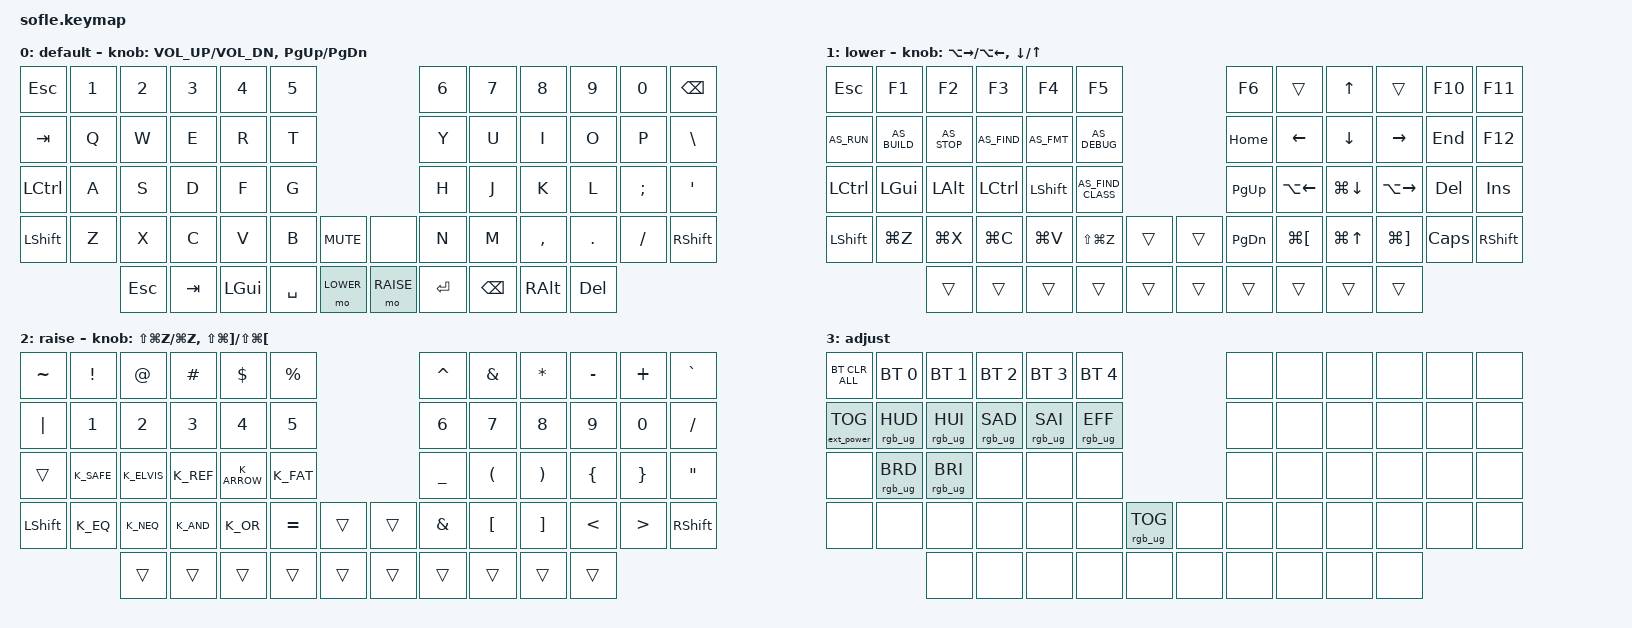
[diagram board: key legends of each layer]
/*
 * Copyright (c) 2020 The ZMK Contributors
 *
 * SPDX-License-Identifier: MIT
 *
 * =====================================================================
 * Sofle v2 Wireless - Keymap otimizado pra Android nativo + KMP no macOS
 * =====================================================================
 *
 * Design pensado pra Kotlin: multi-char tokens (->, ?:, ?., ::, ==) viram
 * teclas únicas; pares de delimitadores em colunas adjacentes pra rolagem
 * natural do dedo; macros do Android Studio na navigation layer.
 *
 * --- LAYERS ---
 *
 * Layer 0 (BASE)    QWERTY puro. Polegares: Esc Tab Cmd Space Lower
 *                                            Raise Enter Bksp Alt Del
 * Layer 1 (LOWER)   Navegação + edição + F-keys + macros Android Studio
 * Layer 2 (RAISE)   Símbolos + números otimizados pra Kotlin
 * Layer 3 (ADJUST)  BT, RGB, ext_power (acessada via Lower+Raise)
 *
 * --- TECLAS-CHAVE NA SYMBOL LAYER (RAISE) ---
 *
 * Mão esquerda home row (multi-char Kotlin tokens):
 *     A=?.   S=?:   D=::   F=->   G==>
 *
 * Mão direita home row (delimitadores em pares):
 *     H=_   J=(   K=)   L={   ;=}   '="
 *
 * --- ENCODERS POR LAYER ---
 *
 * Default: Volume UP/DN     | Page UP/DN
 * Lower:   Word →/←         | Line ↓/↑       (navegação fina)
 * Raise:   Redo/Undo        | Next/Prev tab   (refactor + nav editor)
 *
 * --- MACROS DEFINIDAS ---
 *
 * Android Studio (na layer LOWER, F-row):
 *   AS_RUN  AS_BUILD  AS_STOP  AS_FIND  AS_FMT  AS_DEBUG
 *
 * Kotlin tokens (na layer RAISE, mão esquerda):
 *   K_SAFE (?.)  K_ELVIS (?:)  K_REF (::)  K_ARROW (->)  K_FAT (=>)
 *
 * Combinar com sofle.conf ajustado pra estabilidade BT com AVD rodando.
 * =====================================================================
 */

#include <behaviors.dtsi>
#include <dt-bindings/zmk/bt.h>
#include <dt-bindings/zmk/ext_power.h>
#include <dt-bindings/zmk/keys.h>
#include <dt-bindings/zmk/rgb.h>

#define BASE   0
#define LOWER  1
#define RAISE  2
#define ADJUST 3

/ {
    // ADJUST layer ativa quando LOWER + RAISE são pressionados juntos
    conditional_layers {
        compatible = "zmk,conditional-layers";

        adjust_layer {
            if-layers = <LOWER RAISE>;
            then-layer = <ADJUST>;
        };
    };

    // ============================================================
    // MACROS
    // ============================================================
    macros {

        // --- Kotlin multi-char tokens ---

        K_SAFE: kotlin_safe_call {
            // ?. (safe call operator)
            compatible = "zmk,behavior-macro";
            #binding-cells = <0>;
            wait-ms = <5>;
            tap-ms = <5>;
            bindings = <&kp QMARK &kp DOT>;
        };

        K_ELVIS: kotlin_elvis {
            // ?: (elvis operator)
            compatible = "zmk,behavior-macro";
            #binding-cells = <0>;
            wait-ms = <5>;
            tap-ms = <5>;
            bindings = <&kp QMARK &kp COLON>;
        };

        K_REF: kotlin_member_ref {
            // :: (member reference)
            compatible = "zmk,behavior-macro";
            #binding-cells = <0>;
            wait-ms = <5>;
            tap-ms = <5>;
            bindings = <&kp COLON &kp COLON>;
        };

        K_ARROW: kotlin_arrow {
            // -> (lambda, when, function type)
            compatible = "zmk,behavior-macro";
            #binding-cells = <0>;
            wait-ms = <5>;
            tap-ms = <5>;
            bindings = <&kp MINUS &kp GT>;
        };

        K_FAT: kotlin_fat_arrow {
            // => (raro em Kotlin mas útil em outras stacks como JS/Dart)
            compatible = "zmk,behavior-macro";
            #binding-cells = <0>;
            wait-ms = <5>;
            tap-ms = <5>;
            bindings = <&kp EQUAL &kp GT>;
        };

        K_EQ: kotlin_equal_equal {
            // == (comparação)
            compatible = "zmk,behavior-macro";
            #binding-cells = <0>;
            wait-ms = <5>;
            tap-ms = <5>;
            bindings = <&kp EQUAL &kp EQUAL>;
        };

        K_NEQ: kotlin_not_equal {
            // != (não igual)
            compatible = "zmk,behavior-macro";
            #binding-cells = <0>;
            wait-ms = <5>;
            tap-ms = <5>;
            bindings = <&kp EXCL &kp EQUAL>;
        };

        K_AND: kotlin_and {
            // && (and lógico)
            compatible = "zmk,behavior-macro";
            #binding-cells = <0>;
            wait-ms = <5>;
            tap-ms = <5>;
            bindings = <&kp AMPS &kp AMPS>;
        };

        K_OR: kotlin_or {
            // || (or lógico)
            compatible = "zmk,behavior-macro";
            #binding-cells = <0>;
            wait-ms = <5>;
            tap-ms = <5>;
            bindings = <&kp PIPE &kp PIPE>;
        };

        // --- Android Studio shortcuts (macOS) ---

        AS_RUN: as_run_app {
            // Cmd+R - Run app
            compatible = "zmk,behavior-macro";
            #binding-cells = <0>;
            wait-ms = <5>;
            tap-ms = <5>;
            bindings = <&kp LG(R)>;
        };

        AS_BUILD: as_build_project {
            // Cmd+F9 - Build project
            compatible = "zmk,behavior-macro";
            #binding-cells = <0>;
            wait-ms = <5>;
            tap-ms = <5>;
            bindings = <&kp LG(F9)>;
        };

        AS_STOP: as_stop {
            // Cmd+F2 - Stop running app
            compatible = "zmk,behavior-macro";
            #binding-cells = <0>;
            wait-ms = <5>;
            tap-ms = <5>;
            bindings = <&kp LG(F2)>;
        };

        AS_FIND: as_find_in_files {
            // Cmd+Shift+F - Find in files
            compatible = "zmk,behavior-macro";
            #binding-cells = <0>;
            wait-ms = <5>;
            tap-ms = <5>;
            bindings = <&kp LS(LG(F))>;
        };

        AS_FMT: as_format_code {
            // Cmd+Option+L - Reformat code
            compatible = "zmk,behavior-macro";
            #binding-cells = <0>;
            wait-ms = <5>;
            tap-ms = <5>;
            bindings = <&kp LA(LG(L))>;
        };

        AS_DEBUG: as_debug {
            // Cmd+D - Debug app (atenção: padrão é Ctrl+D em algumas configs;
            // ajustar se seu keymap do AS for diferente)
            compatible = "zmk,behavior-macro";
            #binding-cells = <0>;
            wait-ms = <5>;
            tap-ms = <5>;
            bindings = <&kp LG(D)>;
        };

        AS_FIND_CLASS: as_find_class {
            // Cmd+O - Navigate to class
            compatible = "zmk,behavior-macro";
            #binding-cells = <0>;
            wait-ms = <5>;
            tap-ms = <5>;
            bindings = <&kp LG(O)>;
        };

        AS_FIND_FILE: as_find_file {
            // Cmd+Shift+O - Navigate to file
            compatible = "zmk,behavior-macro";
            #binding-cells = <0>;
            wait-ms = <5>;
            tap-ms = <5>;
            bindings = <&kp LS(LG(O))>;
        };
    };

    keymap {
        compatible = "zmk,keymap";

        // ============================================================
        // LAYER 0 — DEFAULT (QWERTY base)
        // ============================================================
        default_layer {
            display-name = "default";

            // ---------------------------------------------------------------------------------------------------------------
            // |  ESC  |  1  |  2   |  3   |  4    |   5   |                          |   6   |  7    |  8    |  9  |  0  | BKSP  |
            // |  TAB  |  Q  |  W   |  E   |  R    |   T   |                          |   Y   |  U    |  I    |  O  |  P  |   \   |
            // |  CTRL |  A  |  S   |  D   |  F    |   G   |                          |   H   |  J    |  K    |  L  |  ;  |   '   |
            // | SHIFT |  Z  |  X   |  C   |  V    |   B   |   MUTE   |  |   ----     |   N   |  M    |  ,    |  .  |  /  | SHIFT |
            //               | ESC  | TAB  |  CMD  | SPACE |  LOWER   |  |   RAISE    | ENTER | BKSP  | RALT  | DEL |
            // Encoders:                                          [ VOL UP/DN ]    [ PG UP/DN ]

            bindings = <
&kp ESC           &kp N1  &kp N2   &kp N3   &kp N4    &kp N5                                  &kp N6     &kp N7         &kp N8     &kp N9    &kp N0    &kp BACKSPACE
&kp TAB           &kp Q   &kp W    &kp E    &kp R     &kp T                                   &kp Y      &kp U          &kp I      &kp O     &kp P     &kp BACKSLASH
&kp LEFT_CONTROL  &kp A   &kp S    &kp D    &kp F     &kp G                                   &kp H      &kp J          &kp K      &kp L     &kp SEMI  &kp SQT
&kp LSHFT         &kp Z   &kp X    &kp C    &kp V     &kp B      &kp C_MUTE     &none         &kp N      &kp M          &kp COMMA  &kp DOT   &kp FSLH  &kp RSHFT
                          &kp ESC  &kp TAB  &kp LGUI  &kp SPACE  &mo LOWER      &mo RAISE     &kp ENTER  &kp BACKSPACE  &kp RALT   &kp DEL
            >;

            sensor-bindings = <&inc_dec_kp C_VOL_UP C_VOL_DN &inc_dec_kp PG_UP PG_DN>;
        };

        // ============================================================
        // LAYER 1 — LOWER (Navegação + Android Studio + F-keys)
        // ============================================================
        // Filosofia: edição rápida de código. Setas em HJKL estilo vim,
        // word/line nav, undo/redo/cut/copy/paste, e os 8 atalhos mais
        // usados do Android Studio como teclas únicas.
        // ============================================================
        lower_layer {
            display-name = "lower";

            // ---------------------------------------------------------------------------------------------------------------
            // | ESC   | F1   | F2    | F3    | F4    | F5    |                          | F6    |       |   ↑   |       | F10   | F11   |
            // | RUN   | BUILD| STOP  | FIND  | FMT   | DEBUG |                          | HOME  |   ←   |   ↓   |   →   | END   | F12   |
            // | CTRL  | CMD  | OPT   | CTRL  | SHIFT |   ⌘O  |                          | PG_UP | WORD← | LINE↓ | WORD→ | DEL   | INS   |
            // | SHIFT | UNDO | CUT   | COPY  | PASTE | REDO  |  -----   |  |   ----     | PG_DN | TAB←  | LINE↑ | TAB→  | CAPS  | SHIFT |
            //                | ESC  | TAB    |  CMD   | SPACE |  LOWER  |  |   RAISE    | ENTER | BKSP  | RALT  | DEL   |
            // Encoders:                                            [ Word →/← ]    [ Line ↓/↑ ]

            bindings = <
&kp ESC    &kp F1     &kp F2     &kp F3     &kp F4     &kp F5                                  &kp F6      &trans         &kp UP        &trans         &kp F10   &kp F11
&AS_RUN    &AS_BUILD  &AS_STOP   &AS_FIND   &AS_FMT    &AS_DEBUG                               &kp HOME    &kp LEFT       &kp DOWN      &kp RIGHT      &kp END   &kp F12
&kp LCTRL  &kp LGUI   &kp LALT   &kp LCTRL  &kp LSHFT  &AS_FIND_CLASS                          &kp PG_UP   &kp LA(LEFT)   &kp LG(DOWN)  &kp LA(RIGHT)  &kp DEL   &kp INS
&kp LSHFT  &kp LG(Z)  &kp LG(X)  &kp LG(C)  &kp LG(V)  &kp LS(LG(Z))  &trans         &trans    &kp PG_DN   &kp LG(LBKT)   &kp LG(UP)    &kp LG(RBKT)   &kp CLCK  &kp RSHFT
                      &trans     &trans     &trans     &trans         &trans         &trans    &trans      &trans         &trans        &trans
            >;

            // Encoder esquerdo: navegar palavras (Option+→/←)
            // Encoder direito: linha pra baixo/cima (mover por linhas no editor)
            sensor-bindings = <&inc_dec_kp LA(RIGHT) LA(LEFT) &inc_dec_kp DOWN UP>;
        };

        // ============================================================
        // LAYER 2 — RAISE (Símbolos + Números — otimizado pra Kotlin)
        // ============================================================
        // Filosofia: tudo que você bate em código fica aqui. Multi-char
        // Kotlin tokens na home row da mão esquerda. Pares de delimitadores
        // em colunas adjacentes da mão direita. Números na home row da
        // mão direita pra digitação fluida.
        // ============================================================
        raise_layer {
            display-name = "raise";

            // ---------------------------------------------------------------------------------------------------------------
            // |   ~   |  !   |  @   |  #   |  $   |  %   |                          |   ^   |  &   |  *   |  -   |  +   |   `   |
            // |   |   |  1   |  2   |  3   |  4   |  5   |                          |   6   |  7   |  8   |  9   |  0   |   /   |
            // |       |  ?.  |  ?:  |  ::  |  ->  |  =>  |                          |   _   |  (   |  )   |  {   |  }   |   "   |
            // | SHIFT |  ==  |  !=  |  &&  |  ||  |  =   |  -----   |  |   ----     |   &   |  [   |  ]   |  <   |  >   | SHIFT |
            //                | ESC  | TAB  | CMD  | SPACE| LOWER    |  |   RAISE    | ENTER | BKSP | RALT | DEL  |
            // Encoders:                                            [ Redo / Undo ]    [ Next tab / Prev tab ]

            bindings = <
&kp TILDE  &kp EXCL  &kp AT     &kp HASH  &kp DLLR   &kp PRCNT                                 &kp CARET  &kp AMPS    &kp ASTRK   &kp MINUS    &kp PLUS    &kp GRAVE
&kp PIPE   &kp N1    &kp N2     &kp N3    &kp N4     &kp N5                                    &kp N6     &kp N7      &kp N8      &kp N9       &kp N0      &kp FSLH
&trans     &K_SAFE   &K_ELVIS   &K_REF    &K_ARROW   &K_FAT                                    &kp UNDER  &kp LPAR    &kp RPAR    &kp LBRC     &kp RBRC    &kp DQT
&kp LSHFT  &K_EQ     &K_NEQ     &K_AND    &K_OR      &kp EQUAL  &trans         &trans          &kp AMPS   &kp LBKT    &kp RBKT    &kp LT       &kp GT      &kp RSHFT
                     &trans     &trans    &trans     &trans     &trans         &trans          &trans     &trans      &trans      &trans
            >;

            // Encoder esquerdo: Redo (CW: Cmd+Shift+Z) / Undo (CCW: Cmd+Z)
            // Encoder direito: Próxima/Anterior aba (Cmd+Shift+] / Cmd+Shift+[)
            sensor-bindings = <&inc_dec_kp LS(LG(Z)) LG(Z) &inc_dec_kp LS(LG(RBKT)) LS(LG(LBKT))>;
        };

        // ============================================================
        // LAYER 3 — ADJUST (BT, RGB, system)
        // Ativada com LOWER + RAISE simultâneos
        // ============================================================
        adjust_layer {
            display-name = "adjust";

            // ---------------------------------------------------------------------------------------------------------------
            // | BT_CLR_ALL |  BT1   |  BT2   |  BT3    |  BT4    |  BT5    |                          |       |      |      |      |      |       |
            // |  EXT_PWR   | HUE-   | HUE+   |  SAT-   |  SAT+   |  EFFECT |                          |       |      |      |      |      |       |
            // |            | BRI-   | BRI+   |         |         |         |                          |       |      |      |      |      |       |
            // |            |        |        |         |         |         |  RGB_TOG |  |   ----     |       |      |      |      |      |       |

            bindings = <
&bt BT_CLR_ALL     &bt BT_SEL 0     &bt BT_SEL 1     &bt BT_SEL 2     &bt BT_SEL 3     &bt BT_SEL 4                                       &none  &none  &none  &none  &none  &none
&ext_power EP_TOG  &rgb_ug RGB_HUD  &rgb_ug RGB_HUI  &rgb_ug RGB_SAD  &rgb_ug RGB_SAI  &rgb_ug RGB_EFF                                    &none  &none  &none  &none  &none  &none
&none              &rgb_ug RGB_BRD  &rgb_ug RGB_BRI  &none            &none            &none                                              &none  &none  &none  &none  &none  &none
&none              &none            &none            &none            &none            &none            &rgb_ug RGB_TOG    &none         &none  &none  &none  &none  &none  &none
                                    &none            &none            &none            &none            &none              &none         &none  &none  &none  &none
            >;
        };
    };
};
